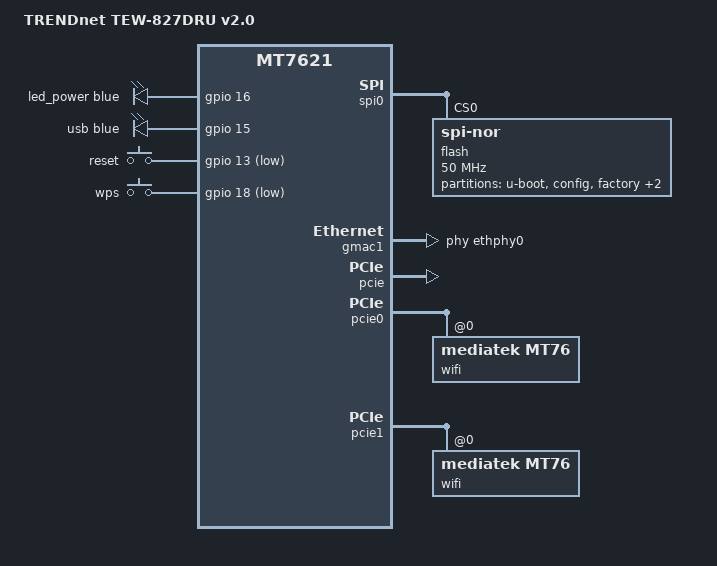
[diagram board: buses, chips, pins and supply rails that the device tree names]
// SPDX-License-Identifier: GPL-2.0-or-later OR MIT

#include "mt7621.dtsi"

#include <dt-bindings/gpio/gpio.h>
#include <dt-bindings/input/input.h>
#include <dt-bindings/leds/common.h>

/ {
	compatible = "trendnet,tew-827dru-v2", "mediatek,mt7621-soc";
	model = "TRENDnet TEW-827DRU v2.0";

	aliases {
		led-boot = &led_power;
		led-failsafe = &led_power;
		led-running = &led_power;
		led-upgrade = &led_power;
	};

	leds {
		compatible = "gpio-leds";

		led_power: power {
			color = <LED_COLOR_ID_BLUE>;
			function = LED_FUNCTION_POWER;
			gpios = <&gpio 16 GPIO_ACTIVE_HIGH>;
		};

		usb {
			color = <LED_COLOR_ID_BLUE>;
			function = LED_FUNCTION_USB;
			gpios = <&gpio 15 GPIO_ACTIVE_HIGH>;
			trigger-sources = <&xhci_ehci_port1>;
			linux,default-trigger = "usbport";
		};
	};

	keys {
		compatible = "gpio-keys";

		reset {
			label = "reset";
			gpios = <&gpio 13 GPIO_ACTIVE_LOW>;
			linux,code = <KEY_RESTART>;
		};

		wps {
			label = "wps";
			gpios = <&gpio 18 GPIO_ACTIVE_LOW>;
			linux,code = <KEY_WPS_BUTTON>;
		};
	};
};

&spi0 {
	status = "okay";

	flash@0 {
		compatible = "jedec,spi-nor";
		reg = <0>;
		spi-max-frequency = <50000000>;

		partitions {
			compatible = "fixed-partitions";
			#address-cells = <1>;
			#size-cells = <1>;

			partition@0 {
				label = "u-boot";
				reg = <0x0 0x30000>;
				read-only;
			};

			partition@30000 {
				label = "config";
				reg = <0x30000 0x10000>;
				read-only;
			};

			factory: partition@40000 {
				label = "factory";
				reg = <0x40000 0x10000>;
				read-only;

				nvmem-layout {
					compatible = "fixed-layout";
					#address-cells = <1>;
					#size-cells = <1>;

					eeprom_factory_0: eeprom@0 {
						reg = <0x0 0x4da8>;
					};

					eeprom_factory_8000: eeprom@8000 {
						reg = <0x8000 0x4da8>;
					};

					macaddr_factory_e000: macaddr@e000 {
						reg = <0xe000 0x6>;
					};

					macaddr_factory_e006: macaddr@e006 {
						reg = <0xe006 0x6>;
					};
				};
			};

			partition@50000 {
				compatible = "denx,uimage";
				label = "firmware";
				reg = <0x50000 0xfa0000>;
			};

			partition@ff0000 {
				label = "art_block";
				reg = <0xff0000 0x10000>;
				read-only;
			};
		};
	};
};

&gmac0 {
	nvmem-cells = <&macaddr_factory_e000>;
	nvmem-cell-names = "mac-address";
};

&gmac1 {
	status = "okay";
	label = "lan4";
	phy-handle = <&ethphy0>;

	nvmem-cells = <&macaddr_factory_e000>;
	nvmem-cell-names = "mac-address";
};

&ethphy0 {
	/delete-property/ interrupts;
};

&switch0 {
	ports {
		port@1 {
			status = "okay";
			label = "lan3";
		};

		port@2 {
			status = "okay";
			label = "lan2";
		};

		port@3 {
			status = "okay";
			label = "lan1";
		};

		port@4 {
			status = "okay";
			label = "wan";
			nvmem-cells = <&macaddr_factory_e006>;
			nvmem-cell-names = "mac-address";
		};
	};
};

&pcie {
	status = "okay";
};

&pcie0 {
	wifi@0,0 {
		compatible = "mediatek,mt76";
		reg = <0x0000 0 0 0 0>;
		nvmem-cells = <&eeprom_factory_0>;
		nvmem-cell-names = "eeprom";
		ieee80211-freq-limit = <2400000 2500000>;

		led {
			led-sources = <0>;
			led-active-low;
		};
	};
};

&pcie1 {
	wifi@0,0 {
		compatible = "mediatek,mt76";
		reg = <0x0000 0 0 0 0>;
		nvmem-cells = <&eeprom_factory_8000>;
		nvmem-cell-names = "eeprom";
		ieee80211-freq-limit = <5000000 6000000>;

		led {
			led-sources = <0>;
			led-active-low;
		};
	};
};

&state_default {
	gpio {
		groups = "wdt", "jtag", "i2c";
		function = "gpio";
	};
};
